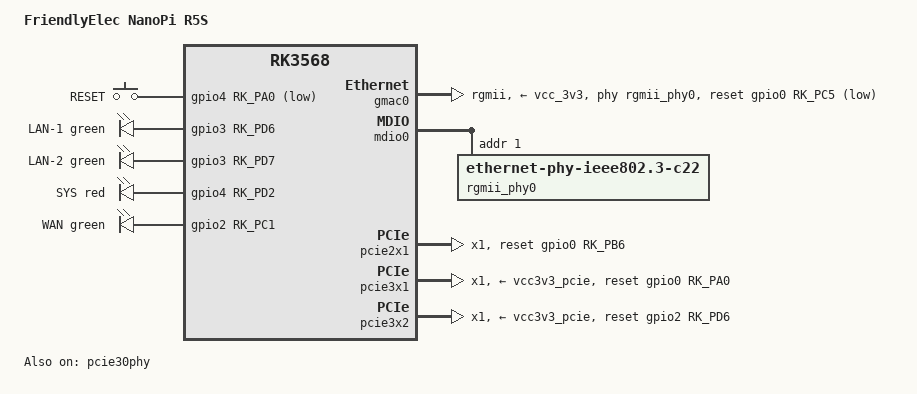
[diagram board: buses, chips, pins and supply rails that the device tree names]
// SPDX-License-Identifier: GPL-2.0-or-later OR MIT
/*
 * iNextOS 板级 fork（lyw-rr）
 *   来源：linyueweia/linux-6.18.y @ main
 *         arch/arm64/boot/dts/rockchip/rk3568-nanopi-r5s.dts
 *   唯一改动：&mdio0 的 rgmii_phy0 (ethernet-phy@1) 增加 eee-broken-1000t
 *             （千兆口只关 1000T 的 EEE，见节点内注释与 README「EEE」一节）
 *   放置：patch/kernel/archive/rockchip64-6.18/dt/ → 框架 dts-directories 裸拷进内核树，
 *         覆盖同名文件；Makefile 条目内核树本来就有（auto-patch-dt-makefile incremental）。
 *   上游内核升级时：重新取一份新 DTS、只在同一 PHY 节点补这一行，别整份手改。
 */
/*
 * Copyright (c) 2022 FriendlyElec Computer Tech. Co., Ltd.
 * (http://www.friendlyelec.com)
 *
 * Copyright (c) 2023 Tianling Shen <cnsztl@gmail.com>
 */

/dts-v1/;
#include "rk3568-nanopi-r5s.dtsi"

/ {
	model = "FriendlyElec NanoPi R5S";
	compatible = "friendlyarm,nanopi-r5s", "rockchip,rk3568";

	aliases {
		ethernet0 = &gmac0;
	};

	gpio-keys {
		compatible = "gpio-keys";
		pinctrl-0 = <&gpio4_a0_k1_pin>;
		pinctrl-names = "default";

		button-reset {
			debounce-interval = <50>;
			gpios = <&gpio4 RK_PA0 GPIO_ACTIVE_LOW>;
			label = "RESET";
			linux,code = <KEY_RESTART>;
		};
	};

	gpio-leds {
		compatible = "gpio-leds";
		pinctrl-names = "default";
		pinctrl-0 = <&lan1_led_pin>, <&lan2_led_pin>, <&sys_led_pin>, <&wan_led_pin>;

		led-lan1 {
			color = <LED_COLOR_ID_GREEN>;
			default-state = "off";
			function = LED_FUNCTION_LAN;
			function-enumerator = <1>;
			gpios = <&gpio3 RK_PD6 GPIO_ACTIVE_HIGH>;
			label = "LAN-1";
		};

		led-lan2 {
			color = <LED_COLOR_ID_GREEN>;
			default-state = "off";
			function = LED_FUNCTION_LAN;
			function-enumerator = <2>;
			gpios = <&gpio3 RK_PD7 GPIO_ACTIVE_HIGH>;
			label = "LAN-2";
		};

		power_led: led-sys {
			color = <LED_COLOR_ID_RED>;
			function = LED_FUNCTION_POWER;
			gpios = <&gpio4 RK_PD2 GPIO_ACTIVE_HIGH>;
			label = "SYS";
			linux,default-trigger = "heartbeat";
		};

		led-wan {
			color = <LED_COLOR_ID_GREEN>;
			default-state = "off";
			function = LED_FUNCTION_WAN;
			gpios = <&gpio2 RK_PC1 GPIO_ACTIVE_HIGH>;
			label = "WAN";
		};
	};
};

&gmac0 {
	assigned-clocks = <&cru SCLK_GMAC0_RX_TX>, <&cru SCLK_GMAC0>;
	assigned-clock-parents = <&cru SCLK_GMAC0_RGMII_SPEED>, <&cru CLK_MAC0_2TOP>;
	assigned-clock-rates = <0>, <125000000>;
	clock_in_out = "output";
	phy-handle = <&rgmii_phy0>;
	phy-mode = "rgmii";
	phy-supply = <&vcc_3v3>;
	pinctrl-names = "default";
	pinctrl-0 = <&gmac0_miim
		     &gmac0_tx_bus2
		     &gmac0_rx_bus2
		     &gmac0_rgmii_clk
		     &gmac0_rgmii_bus>;
	snps,reset-gpio = <&gpio0 RK_PC5 GPIO_ACTIVE_LOW>;
	snps,reset-active-low;
	/* Reset time is 15ms, 50ms for rtl8211f */
	snps,reset-delays-us = <0 15000 50000>;
	tx_delay = <0x3c>;
	rx_delay = <0x2f>;
	status = "okay";
};

&mdio0 {
	rgmii_phy0: ethernet-phy@1 {
		compatible = "ethernet-phy-ieee802.3-c22";
		reg = <1>;
		pinctrl-0 = <&gmac0_rstn_gpio0_c5_pin>;
		pinctrl-names = "default";
		/* iNextOS 适配（唯一改动）：千兆口只关掉 1000T 的 EEE，100M 不动。
		 * 依据 = iNextOS 线定案（K1 / T68M 同写法，phy-core.c:385 读该属性 →
		 * phy.c:1454 从 MDIO_AN_EEE_ADV 剔除并重协商 ⇒ 1G EEE 压根不协商）。
		 * 症状签名：carrier 仍 up、协商仍 1000M、错误计数不涨，但整口静默收不到包，
		 * 下级设备 30s 后自分配 169.254，拔插网线即恢复（= PHY 末端唤醒竞争）。 */
		eee-broken-1000t;
	};
};

&pcie2x1 {
	num-lanes = <1>;
	reset-gpios = <&gpio0 RK_PB6 GPIO_ACTIVE_HIGH>;
	status = "okay";
};

&pcie30phy {
	data-lanes = <1 2>;
	status = "okay";
};

&pcie3x1 {
	num-lanes = <1>;
	reset-gpios = <&gpio0 RK_PA0 GPIO_ACTIVE_HIGH>;
	vpcie3v3-supply = <&vcc3v3_pcie>;
	status = "okay";
};

&pcie3x2 {
	num-lanes = <1>;
	num-ib-windows = <8>;
	num-ob-windows = <8>;
	reset-gpios = <&gpio2 RK_PD6 GPIO_ACTIVE_HIGH>;
	vpcie3v3-supply = <&vcc3v3_pcie>;
	status = "okay";
};

&pinctrl {
	gmac0 {
		gmac0_rstn_gpio0_c5_pin: gmac0-rstn-gpio0-c5-pin {
			rockchip,pins = <0 RK_PC5 RK_FUNC_GPIO &pcfg_pull_up>;
		};
	};

	gpio-keys {
		gpio4_a0_k1_pin: gpio4-a0-k1-pin {
			rockchip,pins = <4 RK_PA0 RK_FUNC_GPIO &pcfg_pull_none>;
		};
	};

	gpio-leds {
		lan1_led_pin: lan1-led-pin {
			rockchip,pins = <3 RK_PD6 RK_FUNC_GPIO &pcfg_pull_none>;
		};

		lan2_led_pin: lan2-led-pin {
			rockchip,pins = <3 RK_PD7 RK_FUNC_GPIO &pcfg_pull_none>;
		};

		sys_led_pin: sys-led-pin {
			rockchip,pins = <4 RK_PD2 RK_FUNC_GPIO &pcfg_pull_none>;
		};

		wan_led_pin: wan-led-pin {
			rockchip,pins = <2 RK_PC1 RK_FUNC_GPIO &pcfg_pull_none>;
		};
	};
};
